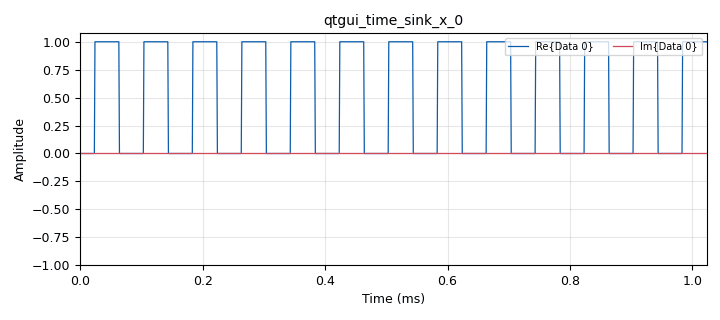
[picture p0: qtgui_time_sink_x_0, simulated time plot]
<?xml version='1.0' encoding='utf-8'?>
<?grc format='1' created='3.7.9'?>
<flow_graph>
<block>
<key>options</key>
<param><key>id</key><value>top_block</value></param>
<param><key>generate_options</key><value>qt_gui</value></param>
</block>
<block>
<key>variable</key>
<param><key>id</key><value>bit_rate</value></param>
<param><key>value</key><value>12500</value></param>
</block>
<block>
<key>variable</key>
<param><key>id</key><value>bit_samples</value></param>
<param><key>value</key><value>samp_rate / bit_rate</value></param>
</block>
<block>
<key>variable</key>
<param><key>id</key><value>half_bit_samples</value></param>
<param><key>value</key><value>bit_samples / 2</value></param>
</block>
<block>
<key>variable</key>
<param><key>id</key><value>samp_rate</value></param>
<param><key>value</key><value>1000000</value></param>
</block>
<block>
<key>analog_sig_source_x</key>
<param><key>id</key><value>analog_sig_source_x_0</value></param>
<param><key>amp</key><value>1</value></param>
<param><key>comment</key><value>frequency = bit_rate / 2 to send 1s
frequency = bit_rate to send 0s</value></param>
<param><key>freq</key><value>bit_rate</value></param>
<param><key>offset</key><value>0</value></param>
<param><key>type</key><value>float</value></param>
<param><key>samp_rate</key><value>samp_rate</value></param>
<param><key>waveform</key><value>analog.GR_SQR_WAVE</value></param>
</block>
<block>
<key>blocks_float_to_complex</key>
<param><key>id</key><value>blocks_float_to_complex_0</value></param>
</block>
<block>
<key>qtgui_time_sink_x</key>
<param><key>id</key><value>qtgui_time_sink_x_0</value></param>
<param><key>color1</key><value>"blue"</value></param>
<param><key>label1</key><value></value></param>
<param><key>color2</key><value>"red"</value></param>
<param><key>label2</key><value></value></param>
<param><key>size</key><value>1024</value></param>
<param><key>srate</key><value>samp_rate</value></param>
<param><key>type</key><value>complex</value></param>
</block>
<block>
<key>uhd_usrp_sink</key>
<param><key>id</key><value>uhd_usrp_sink_0</value></param>
<param><key>ant0</key><value>TX/RX</value></param>
<param><key>center_freq0</key><value>912.002442e6</value></param>
<param><key>norm_gain0</key><value>False</value></param>
<param><key>gain0</key><value>10</value></param>
<param><key>clock_rate</key><value>0.0</value></param>
<param><key>dev_addr</key><value>addr=192.168.10.2, send_frame_size=8000</value></param>
<param><key>dev_args</key><value>""</value></param>
<param><key>type</key><value>fc32</value></param>
<param><key>sd_spec0</key><value>A:0</value></param>
<param><key>samp_rate</key><value>samp_rate</value></param>
<param><key>hide_cmd_port</key><value>False</value></param>
<param><key>sync</key><value></value></param>
<param><key>len_tag_name</key><value></value></param>
</block>
<connection><source_block_id>analog_sig_source_x_0</source_block_id><sink_block_id>blocks_float_to_complex_0</sink_block_id><source_key>0</source_key><sink_key>0</sink_key></connection>
<connection><source_block_id>blocks_float_to_complex_0</source_block_id><sink_block_id>qtgui_time_sink_x_0</sink_block_id><source_key>0</source_key><sink_key>0</sink_key></connection>
<connection><source_block_id>blocks_float_to_complex_0</source_block_id><sink_block_id>uhd_usrp_sink_0</sink_block_id><source_key>0</source_key><sink_key>0</sink_key></connection>
</flow_graph>
